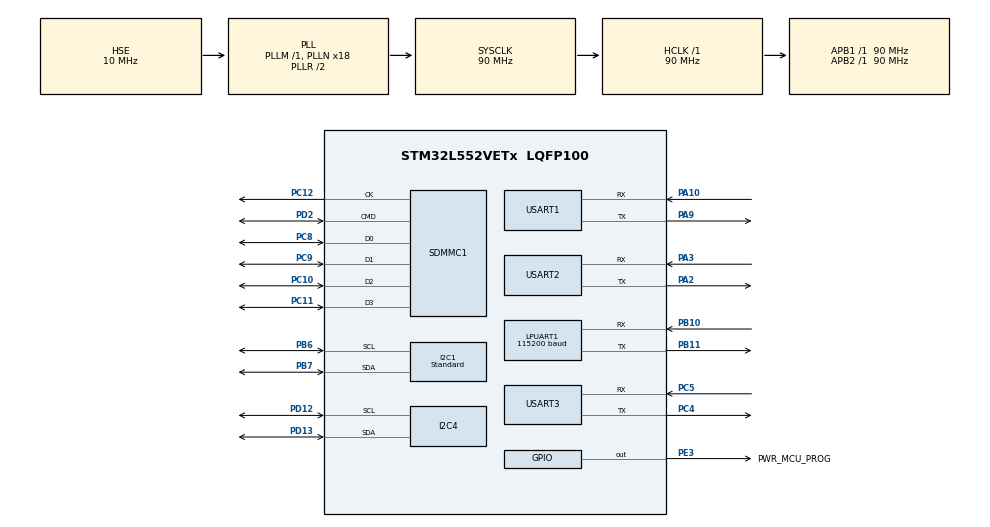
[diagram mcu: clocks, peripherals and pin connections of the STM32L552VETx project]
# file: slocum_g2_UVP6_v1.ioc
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Dma.Request0=USART1_TX
Dma.USART1_TX.0.Channel_PRIV_NPRIV=DMA_CHANNEL_NPRIV_DISABLE
Dma.USART1_TX.0.Direction=DMA_MEMORY_TO_PERIPH
Dma.USART1_TX.0.EventEnable=DISABLE
Dma.USART1_TX.0.Instance=DMA1_Channel1
Dma.USART1_TX.0.MemDataAlignment=DMA_MDATAALIGN_BYTE
Dma.USART1_TX.0.MemInc=DMA_MINC_ENABLE
Dma.USART1_TX.0.Mode=DMA_NORMAL
Dma.USART1_TX.0.PeriphDataAlignment=DMA_PDATAALIGN_BYTE
Dma.USART1_TX.0.PeriphInc=DMA_PINC_DISABLE
Dma.USART1_TX.0.Polarity=HAL_DMAMUX_REQ_GEN_RISING
Dma.USART1_TX.0.Priority=DMA_PRIORITY_LOW
Dma.USART1_TX.0.RequestNumber=1
Dma.USART1_TX.0.SignalID=NONE
Dma.USART1_TX.0.SyncEnable=DISABLE
Dma.USART1_TX.0.SyncPolarity=HAL_DMAMUX_SYNC_NO_EVENT
Dma.USART1_TX.0.SyncRequestNumber=1
Dma.USART1_TX.0.SyncSignalID=NONE
FATFS._FS_EXFAT=1
FATFS._USE_LFN=3
FREERTOS.Tasks01=defaultTask,24,128,StartDefaultTask,Default,NULL,Dynamic,NULL,NULL;sensors_t,24,256,sensors_f,Default,NULL,Dynamic,NULL,NULL
FREERTOS.Timers01=sensors_tmr,sensors_tmr_cb,osTimerPeriodic,Default,NULL,Dynamic,NULL
FREERTOS.configTOTAL_HEAP_SIZE=16000
FREERTOS.configUSE_NEWLIB_REENTRANT=1
I2C1.CustomTiming=Disabled
I2C1.I2C_Coeff_DF=0
I2C1.I2C_Fall_Time=0
I2C1.I2C_Rise_Time=500
I2C1.I2C_Speed_Mode=I2C_Standard
I2C1.Speed=100
I2C1.Timing=0x40D04660
I2C4.I2C_Rise_Time=100
I2C4.Timing=0x10F0B6FF
LPUART1.BaudRate=115200
Mcu.Family=STM32L5
Mcu.Name=STM32L552VETx
Mcu.Package=LQFP100
NVIC.DMA1_Channel1_IRQn=true\:5\:0\:false\:false\:true\:true\:false\:true\:true
NVIC.I2C1_ER_IRQn=true\:5\:0\:false\:false\:true\:true\:true\:true\:true
NVIC.I2C1_EV_IRQn=true\:5\:0\:false\:false\:true\:true\:true\:true\:true
NVIC.LPUART1_IRQn=true\:5\:0\:false\:false\:true\:true\:true\:true\:true
NVIC.PriorityGroup=NVIC_PRIORITYGROUP_3
NVIC.SDMMC1_IRQn=true\:5\:0\:false\:false\:true\:true\:true\:true\:true
NVIC.TIM1_UP_IRQn=true\:7\:0\:false\:false\:true\:false\:false\:true\:true
NVIC.TimeBase=TIM1_UP_IRQn
NVIC.TimeBaseIP=TIM1
NVIC.USART1_IRQn=true\:5\:0\:false\:false\:true\:true\:true\:true\:true
NVIC.USART2_IRQn=true\:5\:0\:false\:false\:true\:true\:true\:true\:true
PA10.Mode=Asynchronous
PA10.Signal=USART1_RX
PA2.Mode=Asynchronous
PA2.Signal=USART2_TX
PA3.Mode=Asynchronous
PA3.Signal=USART2_RX
PA9.Mode=Asynchronous
PA9.Signal=USART1_TX
PB10.Mode=Asynchronous
PB10.Signal=LPUART1_RX
PB11.Mode=Asynchronous
PB11.Signal=LPUART1_TX
PB6.Mode=I2C
PB6.Signal=I2C1_SCL
PB7.Mode=I2C
PB7.Signal=I2C1_SDA
PC10.Mode=SD_4_bits_Wide_bus
PC10.Signal=SDMMC1_D2
PC11.Mode=SD_4_bits_Wide_bus
PC11.Signal=SDMMC1_D3
PC12.Mode=SD_4_bits_Wide_bus
PC12.Signal=SDMMC1_CK
PC14-OSC32_IN\ (PC14).Mode=LSE-External-Oscillator
PC14-OSC32_IN\ (PC14).Signal=RCC_OSC32_IN
PC15-OSC32_OUT\ (PC15).Mode=LSE-External-Oscillator
PC15-OSC32_OUT\ (PC15).Signal=RCC_OSC32_OUT
PC4.Mode=Asynchronous
PC4.Signal=USART3_TX
PC5.Mode=Asynchronous
PC5.Signal=USART3_RX
PC8.Mode=SD_4_bits_Wide_bus
PC8.Signal=SDMMC1_D0
PC9.Mode=SD_4_bits_Wide_bus
PC9.Signal=SDMMC1_D1
PD12.Mode=I2C
PD12.Signal=I2C4_SCL
PD13.Mode=I2C
PD13.Signal=I2C4_SDA
PD2.Mode=SD_4_bits_Wide_bus
PD2.Signal=SDMMC1_CMD
PE10.Signal=OCTOSPI1_CLK
PE11.Signal=OCTOSPI1_NCS
PE12.Signal=OCTOSPI1_IO0
PE13.Signal=OCTOSPI1_IO1
PE14.Signal=OCTOSPI1_IO2
PE15.Signal=OCTOSPI1_IO3
PE3.GPIO_Label=PWR_MCU_PROG
PE3.Signal=GPIO_Output
PH0-OSC_IN\ (PH0).Mode=HSE-External-Oscillator
PH0-OSC_IN\ (PH0).Signal=RCC_OSC_IN
PH1-OSC_OUT\ (PH1).Mode=HSE-External-Oscillator
PH1-OSC_OUT\ (PH1).Signal=RCC_OSC_OUT
ProjectManager.HeapSize=0x400
ProjectManager.StackSize=0x1000
ProjectManager.TargetToolchain=STM32CubeIDE
RCC.ADCFreq_Value=50000000
RCC.AHBFreq_Value=90000000
RCC.APB1Freq_Value=90000000
RCC.APB1TimFreq_Value=90000000
RCC.APB2Freq_Value=90000000
RCC.APB2TimFreq_Value=90000000
RCC.CortexFreq_Value=90000000
RCC.HCLKFreq_Value=90000000
RCC.HSE_VALUE=10000000
RCC.HSI48_VALUE=48000000
RCC.HSI_VALUE=16000000
RCC.MSI_VALUE=4000000
RCC.PLLN=18
RCC.PLLSAI1M=2
RCC.PLLSAI1N=20
RCC.PLLSAI1Q=RCC_PLLQ_DIV8
RCC.PLLSAI1Source=RCC_PLLSAI1SOURCE_HSE
RCC.PLLSourceVirtual=RCC_PLLSOURCE_HSE
RCC.RTCClockSelection=RCC_RTCCLKSOURCE_LSE
RCC.SDMMCClockSelection=RCC_SDIOCLKSOURCE_CLK48
RCC.SYSCLKFreq_VALUE=90000000
RCC.SYSCLKSource=RCC_SYSCLKSOURCE_PLLCLK
RCC.USBFreq_Value=12500000
RCC.VCOOutputFreq_Value=180000000
SDMMC1.ClockDiv=0
SDMMC1.ClockEdge=SDMMC_CLOCK_EDGE_RISING
SDMMC1.ClockPowerSave=SDMMC_CLOCK_POWER_SAVE_DISABLE
SDMMC1.HardwareFlowControl=SDMMC_HARDWARE_FLOW_CONTROL_DISABLE
USART1.VirtualMode-Asynchronous=VM_ASYNC
USART2.VirtualMode-Asynchronous=VM_ASYNC
USART3.VirtualMode-Asynchronous=VM_ASYNC
VP_FATFS_VS_SDIO.Mode=SDIO
VP_FREERTOS_VS_CMSIS_V2.Mode=CMSIS_V2
VP_ICACHE_VS_ICACHE.Mode=DefaultMode
VP_PWR_VS_DBSignals.Mode=DisableDeadBatterySignals
VP_PWR_VS_SECSignals.Mode=Security/Privilege
VP_RTC_VS_RTC_Activate.Mode=RTC_Enabled
VP_SYS_VS_tim1.Mode=TIM1
board=custom

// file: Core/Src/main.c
/* USER CODE BEGIN Header */
/**
  ******************************************************************************
  * @file           : main.c
  * @brief          : Main program body
  ******************************************************************************
  * @attention
  *
  * Copyright (c) 2023 STMicroelectronics.
  * All rights reserved.
  *
  * This software is licensed under terms that can be found in the LICENSE file
  * in the root directory of this software component.
  * If no LICENSE file comes with this software, it is provided AS-IS.
  *
  ******************************************************************************
  */
/* USER CODE END Header */
#include "main.h"
#include "cmsis_os.h"
#include "app_fatfs.h"

/* USER CODE BEGIN Includes */
#include "stdio.h"
#include "string.h"
#include "dbg.h"
#include "stdlib.h"
/* USER CODE END Includes */

I2C_HandleTypeDef hi2c1;
I2C_HandleTypeDef hi2c4;

UART_HandleTypeDef hlpuart1;
UART_HandleTypeDef huart1;
UART_HandleTypeDef huart2;
UART_HandleTypeDef huart3;
DMA_HandleTypeDef hdma_usart1_tx;

RTC_HandleTypeDef hrtc;

SD_HandleTypeDef hsd1;

/* Definitions for defaultTask */
osThreadId_t defaultTaskHandle;
const osThreadAttr_t defaultTask_attributes = {
  .name = "defaultTask",
  .priority = (osPriority_t) osPriorityNormal,
  .stack_size = 128 * 4
};
/* Definitions for sensors_t */
osThreadId_t sensors_tHandle;
const osThreadAttr_t sensors_t_attributes = {
  .name = "sensors_t",
  .priority = (osPriority_t) osPriorityNormal,
  .stack_size = 256 * 4
};
/* Definitions for sensors_tmr */
osTimerId_t sensors_tmrHandle;
const osTimerAttr_t sensors_tmr_attributes = {
  .name = "sensors_tmr"
};
/* USER CODE BEGIN PV */

uint8_t keepalive_msg[]={0x34,0x38,0x33,0x31,0x09,0x36,0x34,0x30,0x09,0x31,0x38,0x35,0x2E,0x33,0x34,0x36,0x09,0x39,0x30,0x2E,0x30,0x36,0x32,0x09,0x32,0x36,0x2E,0x35,0x37,0x32,0x09,0x32,0x37,0x2E,0x35,0x39,0x34,0x09,0x33,0x30,0x2E,0x37,0x33,0x34,0x09,0x33,0x39,0x2E,0x30,0x36,0x36,0x09,0x38,0x2E,0x33,0x33,0x32,0x09,0x37,0x35,0x34,0x2E,0x37,0x09,0x38,0x31,0x34,0x2E,0x37,0x09,0x34,0x38,0x2E,0x37,0x0D,0x0A};

uint8_t  cmd_msg[100];
uint32_t cmd_msg_indx=0;

char tt[200];
RTC_TimeTypeDef sTimeStamp;
RTC_DateTypeDef sTimeStampDate;
uint8_t depth_cmd=0xac;
uint8_t OUTX_L_XL=0x28;
uint8_t OUTX_H_XL=0x29;
uint8_t OUTY_L_XL=0x2A;
uint8_t OUTY_H_XL=0x2B;
uint8_t OUTZ_L_XL=0x2C;
uint8_t OUTZ_H_XL=0x2D;
uint8_t CTRL1_XL[]={0x10,0x20};
uint8_t who_am_i=0x0f;
uint8_t id;
uint8_t data[6];
uint8_t rx_byte;
uint8_t rx_byte2;

FATFS fs;
FIL fl;
FRESULT res;

uint16_t P;
uint16_t T;
UINT btwritten;
uint32_t tmstmp;
int i=0;

enum{
  	FSM_STOPPED=0,
	FSM_STARTING,
	FSM_STARTED,
	FSM_STOPPING,
	FSM_TIMER,
	FSM_RTC_UPDATE
};
uint32_t fsm_status=FSM_STOPPED;
uint8_t uart2_rx_byte;
/* USER CODE END PV */

void SystemClock_Config(void);
static void MX_GPIO_Init(void);
static void MX_DMA_Init(void);
static void MX_ICACHE_Init(void);
static void MX_USART1_UART_Init(void);
static void MX_RTC_Init(void);
static void MX_SDMMC1_SD_Init(void);
static void MX_I2C1_Init(void);
static void MX_LPUART1_UART_Init(void);
static void MX_USART2_UART_Init(void);
static void MX_I2C4_Init(void);
static void MX_USART3_UART_Init(void);
void StartDefaultTask(void *argument);
void sensors_f(void *argument);
void sensors_tmr_cb(void *argument);

int main(void)
{

  /* MCU Configuration--------------------------------------------------------*/

  /* Reset of all peripherals, Initializes the Flash interface and the Systick. */
  HAL_Init();

  /* Configure the system clock */
  SystemClock_Config();

  /* Initialize all configured peripherals */
  MX_GPIO_Init();
  MX_DMA_Init();
  MX_ICACHE_Init();
  MX_USART1_UART_Init();
  MX_RTC_Init();
  MX_SDMMC1_SD_Init();
  if (MX_FATFS_Init() != APP_OK) {
    Error_Handler();
  }
  MX_I2C1_Init();
  MX_LPUART1_UART_Init();
  MX_USART2_UART_Init();
  MX_I2C4_Init();
  MX_USART3_UART_Init();

  /* Init scheduler */
  osKernelInitialize();

  /* Create the timer(s) */
  /* creation of sensors_tmr */
  sensors_tmrHandle = osTimerNew(sensors_tmr_cb, osTimerPeriodic, NULL, &sensors_tmr_attributes);

  /* Create the thread(s) */
  /* creation of defaultTask */
  defaultTaskHandle = osThreadNew(StartDefaultTask, NULL, &defaultTask_attributes);

  /* creation of sensors_t */
  sensors_tHandle = osThreadNew(sensors_f, NULL, &sensors_t_attributes);

  /* Start scheduler */
  osKernelStart();
  /* We should never get here as control is now taken by the scheduler */
  /* Infinite loop */
  /* USER CODE BEGIN WHILE */
  while (1)
  {
	/*
	HAL_UART_Transmit_DMA(&huart1, "Hello\n", 6);

	HAL_Delay(1000);
	//HAL_RTCEx_GetTimeStamp(&hrtc, &sTimeStamp, &sTimeStampDate, RTC_FORMAT_BIN);
	HAL_RTC_GetTime(&hrtc, &sTimeStamp, RTC_FORMAT_BIN);
	HAL_RTC_GetDate(&hrtc, &sTimeStampDate, RTC_FORMAT_BIN);
	sprintf(tt,"%u:%u:%u\n",sTimeStamp.Hours,sTimeStamp.Minutes,sTimeStamp.Seconds);
	HAL_UART_Transmit_DMA(&huart1, tt, strlen(tt));
	HAL_Delay(1000);
	*/

    /* USER CODE END WHILE */

  }
}

void SystemClock_Config(void)
{
  RCC_OscInitTypeDef RCC_OscInitStruct = {0};
  RCC_ClkInitTypeDef RCC_ClkInitStruct = {0};

  /** Configure the main internal regulator output voltage
  */
  if (HAL_PWREx_ControlVoltageScaling(PWR_REGULATOR_VOLTAGE_SCALE0) != HAL_OK)
  {
    Error_Handler();
  }

  /** Configure LSE Drive Capability
  */
  HAL_PWR_EnableBkUpAccess();
  __HAL_RCC_LSEDRIVE_CONFIG(RCC_LSEDRIVE_LOW);

  /** Initializes the RCC Oscillators according to the specified parameters
  * in the RCC_OscInitTypeDef structure.
  */
  RCC_OscInitStruct.OscillatorType = RCC_OSCILLATORTYPE_HSE|RCC_OSCILLATORTYPE_LSE;
  RCC_OscInitStruct.HSEState = RCC_HSE_ON;
  RCC_OscInitStruct.LSEState = RCC_LSE_ON;
  RCC_OscInitStruct.PLL.PLLState = RCC_PLL_ON;
  RCC_OscInitStruct.PLL.PLLSource = RCC_PLLSOURCE_HSE;
  RCC_OscInitStruct.PLL.PLLM = 1;
  RCC_OscInitStruct.PLL.PLLN = 18;
  RCC_OscInitStruct.PLL.PLLP = RCC_PLLP_DIV7;
  RCC_OscInitStruct.PLL.PLLQ = RCC_PLLQ_DIV2;
  RCC_OscInitStruct.PLL.PLLR = RCC_PLLR_DIV2;
  if (HAL_RCC_OscConfig(&RCC_OscInitStruct) != HAL_OK)
  {
    Error_Handler();
  }

  /** Initializes the CPU, AHB and APB buses clocks
  */
  RCC_ClkInitStruct.ClockType = RCC_CLOCKTYPE_HCLK|RCC_CLOCKTYPE_SYSCLK
                              |RCC_CLOCKTYPE_PCLK1|RCC_CLOCKTYPE_PCLK2;
  RCC_ClkInitStruct.SYSCLKSource = RCC_SYSCLKSOURCE_PLLCLK;
  RCC_ClkInitStruct.AHBCLKDivider = RCC_SYSCLK_DIV1;
  RCC_ClkInitStruct.APB1CLKDivider = RCC_HCLK_DIV1;
  RCC_ClkInitStruct.APB2CLKDivider = RCC_HCLK_DIV1;

  if (HAL_RCC_ClockConfig(&RCC_ClkInitStruct, FLASH_LATENCY_4) != HAL_OK)
  {
    Error_Handler();
  }
}

static void MX_I2C1_Init(void)
{

  hi2c1.Instance = I2C1;
  hi2c1.Init.Timing = 0x40D04660;
  hi2c1.Init.OwnAddress1 = 0;
  hi2c1.Init.AddressingMode = I2C_ADDRESSINGMODE_7BIT;
  hi2c1.Init.DualAddressMode = I2C_DUALADDRESS_DISABLE;
  hi2c1.Init.OwnAddress2 = 0;
  hi2c1.Init.OwnAddress2Masks = I2C_OA2_NOMASK;
  hi2c1.Init.GeneralCallMode = I2C_GENERALCALL_DISABLE;
  hi2c1.Init.NoStretchMode = I2C_NOSTRETCH_DISABLE;
  if (HAL_I2C_Init(&hi2c1) != HAL_OK)
  {
    Error_Handler();
  }

  /** Configure Analogue filter
  */
  if (HAL_I2CEx_ConfigAnalogFilter(&hi2c1, I2C_ANALOGFILTER_ENABLE) != HAL_OK)
  {
    Error_Handler();
  }

  /** Configure Digital filter
  */
  if (HAL_I2CEx_ConfigDigitalFilter(&hi2c1, 0) != HAL_OK)
  {
    Error_Handler();
  }

}

static void MX_I2C4_Init(void)
{

  hi2c4.Instance = I2C4;
  hi2c4.Init.Timing = 0x10F0B6FF;
  hi2c4.Init.OwnAddress1 = 0;
  hi2c4.Init.AddressingMode = I2C_ADDRESSINGMODE_7BIT;
  hi2c4.Init.DualAddressMode = I2C_DUALADDRESS_DISABLE;
  hi2c4.Init.OwnAddress2 = 0;
  hi2c4.Init.OwnAddress2Masks = I2C_OA2_NOMASK;
  hi2c4.Init.GeneralCallMode = I2C_GENERALCALL_DISABLE;
  hi2c4.Init.NoStretchMode = I2C_NOSTRETCH_DISABLE;
  if (HAL_I2C_Init(&hi2c4) != HAL_OK)
  {
    Error_Handler();
  }

  /** Configure Analogue filter
  */
  if (HAL_I2CEx_ConfigAnalogFilter(&hi2c4, I2C_ANALOGFILTER_ENABLE) != HAL_OK)
  {
    Error_Handler();
  }

  /** Configure Digital filter
  */
  if (HAL_I2CEx_ConfigDigitalFilter(&hi2c4, 0) != HAL_OK)
  {
    Error_Handler();
  }

}

static void MX_ICACHE_Init(void)
{

  /** Enable instruction cache (default 2-ways set associative cache)
  */
  if (HAL_ICACHE_Enable() != HAL_OK)
  {
    Error_Handler();
  }

}

static void MX_LPUART1_UART_Init(void)
{

  hlpuart1.Instance = LPUART1;
  hlpuart1.Init.BaudRate = 115200;
  hlpuart1.Init.WordLength = UART_WORDLENGTH_8B;
  hlpuart1.Init.StopBits = UART_STOPBITS_1;
  hlpuart1.Init.Parity = UART_PARITY_NONE;
  hlpuart1.Init.Mode = UART_MODE_TX_RX;
  hlpuart1.Init.HwFlowCtl = UART_HWCONTROL_NONE;
  hlpuart1.Init.OneBitSampling = UART_ONE_BIT_SAMPLE_DISABLE;
  hlpuart1.Init.ClockPrescaler = UART_PRESCALER_DIV1;
  hlpuart1.AdvancedInit.AdvFeatureInit = UART_ADVFEATURE_NO_INIT;
  hlpuart1.FifoMode = UART_FIFOMODE_DISABLE;
  if (HAL_UART_Init(&hlpuart1) != HAL_OK)
  {
    Error_Handler();
  }
  if (HAL_UARTEx_SetTxFifoThreshold(&hlpuart1, UART_TXFIFO_THRESHOLD_1_8) != HAL_OK)
  {
    Error_Handler();
  }
  if (HAL_UARTEx_SetRxFifoThreshold(&hlpuart1, UART_RXFIFO_THRESHOLD_1_8) != HAL_OK)
  {
    Error_Handler();
  }
  if (HAL_UARTEx_DisableFifoMode(&hlpuart1) != HAL_OK)
  {
    Error_Handler();
  }

}

static void MX_USART1_UART_Init(void)
{

  huart1.Instance = USART1;
  huart1.Init.BaudRate = 115200;
  huart1.Init.WordLength = UART_WORDLENGTH_8B;
  huart1.Init.StopBits = UART_STOPBITS_1;
  huart1.Init.Parity = UART_PARITY_NONE;
  huart1.Init.Mode = UART_MODE_TX_RX;
  huart1.Init.HwFlowCtl = UART_HWCONTROL_NONE;
  huart1.Init.OverSampling = UART_OVERSAMPLING_16;
  huart1.Init.OneBitSampling = UART_ONE_BIT_SAMPLE_DISABLE;
  huart1.Init.ClockPrescaler = UART_PRESCALER_DIV1;
  huart1.AdvancedInit.AdvFeatureInit = UART_ADVFEATURE_NO_INIT;
  if (HAL_UART_Init(&huart1) != HAL_OK)
  {
    Error_Handler();
  }
  if (HAL_UARTEx_SetTxFifoThreshold(&huart1, UART_TXFIFO_THRESHOLD_1_8) != HAL_OK)
  {
    Error_Handler();
  }
  if (HAL_UARTEx_SetRxFifoThreshold(&huart1, UART_RXFIFO_THRESHOLD_1_8) != HAL_OK)
  {
    Error_Handler();
  }
  if (HAL_UARTEx_DisableFifoMode(&huart1) != HAL_OK)
  {
    Error_Handler();
  }

}

static void MX_USART2_UART_Init(void)
{

  huart2.Instance = USART2;
  huart2.Init.BaudRate = 115200;
  huart2.Init.WordLength = UART_WORDLENGTH_8B;
  huart2.Init.StopBits = UART_STOPBITS_1;
  huart2.Init.Parity = UART_PARITY_NONE;
  huart2.Init.Mode = UART_MODE_TX_RX;
  huart2.Init.HwFlowCtl = UART_HWCONTROL_NONE;
  huart2.Init.OverSampling = UART_OVERSAMPLING_16;
  huart2.Init.OneBitSampling = UART_ONE_BIT_SAMPLE_DISABLE;
  huart2.Init.ClockPrescaler = UART_PRESCALER_DIV1;
  huart2.AdvancedInit.AdvFeatureInit = UART_ADVFEATURE_NO_INIT;
  if (HAL_UART_Init(&huart2) != HAL_OK)
  {
    Error_Handler();
  }
  if (HAL_UARTEx_SetTxFifoThreshold(&huart2, UART_TXFIFO_THRESHOLD_1_8) != HAL_OK)
  {
    Error_Handler();
  }
  if (HAL_UARTEx_SetRxFifoThreshold(&huart2, UART_RXFIFO_THRESHOLD_1_8) != HAL_OK)
  {
    Error_Handler();
  }
  if (HAL_UARTEx_DisableFifoMode(&huart2) != HAL_OK)
  {
    Error_Handler();
  }

}

static void MX_USART3_UART_Init(void)
{

  huart3.Instance = USART3;
  huart3.Init.BaudRate = 115200;
  huart3.Init.WordLength = UART_WORDLENGTH_8B;
  huart3.Init.StopBits = UART_STOPBITS_1;
  huart3.Init.Parity = UART_PARITY_NONE;
  huart3.Init.Mode = UART_MODE_TX_RX;
  huart3.Init.HwFlowCtl = UART_HWCONTROL_NONE;
  huart3.Init.OverSampling = UART_OVERSAMPLING_16;
  huart3.Init.OneBitSampling = UART_ONE_BIT_SAMPLE_DISABLE;
  huart3.Init.ClockPrescaler = UART_PRESCALER_DIV1;
  huart3.AdvancedInit.AdvFeatureInit = UART_ADVFEATURE_NO_INIT;
  if (HAL_UART_Init(&huart3) != HAL_OK)
  {
    Error_Handler();
  }
  if (HAL_UARTEx_SetTxFifoThreshold(&huart3, UART_TXFIFO_THRESHOLD_1_8) != HAL_OK)
  {
    Error_Handler();
  }
  if (HAL_UARTEx_SetRxFifoThreshold(&huart3, UART_RXFIFO_THRESHOLD_1_8) != HAL_OK)
  {
    Error_Handler();
  }
  if (HAL_UARTEx_DisableFifoMode(&huart3) != HAL_OK)
  {
    Error_Handler();
  }

}

static void MX_RTC_Init(void)
{

  RTC_PrivilegeStateTypeDef privilegeState = {0};

  /** Initialize RTC Only
  */
  hrtc.Instance = RTC;
  hrtc.Init.HourFormat = RTC_HOURFORMAT_24;
  hrtc.Init.AsynchPrediv = 127;
  hrtc.Init.SynchPrediv = 255;
  hrtc.Init.OutPut = RTC_OUTPUT_DISABLE;
  hrtc.Init.OutPutRemap = RTC_OUTPUT_REMAP_NONE;
  hrtc.Init.OutPutPolarity = RTC_OUTPUT_POLARITY_HIGH;
  hrtc.Init.OutPutType = RTC_OUTPUT_TYPE_OPENDRAIN;
  hrtc.Init.OutPutPullUp = RTC_OUTPUT_PULLUP_NONE;
  if (HAL_RTC_Init(&hrtc) != HAL_OK)
  {
    Error_Handler();
  }
  privilegeState.rtcPrivilegeFull = RTC_PRIVILEGE_FULL_NO;
  privilegeState.backupRegisterPrivZone = RTC_PRIVILEGE_BKUP_ZONE_NONE;
  privilegeState.backupRegisterStartZone2 = RTC_BKP_DR0;
  privilegeState.backupRegisterStartZone3 = RTC_BKP_DR0;
  if (HAL_RTCEx_PrivilegeModeSet(&hrtc, &privilegeState) != HAL_OK)
  {
    Error_Handler();
  }

}

static void MX_SDMMC1_SD_Init(void)
{

  hsd1.Instance = SDMMC1;
  hsd1.Init.ClockEdge = SDMMC_CLOCK_EDGE_RISING;
  hsd1.Init.ClockPowerSave = SDMMC_CLOCK_POWER_SAVE_DISABLE;
  hsd1.Init.BusWide = SDMMC_BUS_WIDE_4B;
  hsd1.Init.HardwareFlowControl = SDMMC_HARDWARE_FLOW_CONTROL_DISABLE;
  hsd1.Init.ClockDiv = 0;

}

static void MX_DMA_Init(void)
{

  /* DMA controller clock enable */
  __HAL_RCC_DMAMUX1_CLK_ENABLE();
  __HAL_RCC_DMA1_CLK_ENABLE();

  /* DMA interrupt init */
  /* DMA1_Channel1_IRQn interrupt configuration */
  HAL_NVIC_SetPriority(DMA1_Channel1_IRQn, 5, 0);
  HAL_NVIC_EnableIRQ(DMA1_Channel1_IRQn);

}

static void MX_GPIO_Init(void)
{
  GPIO_InitTypeDef GPIO_InitStruct = {0};

  /* GPIO Ports Clock Enable */
  __HAL_RCC_GPIOE_CLK_ENABLE();
  __HAL_RCC_GPIOC_CLK_ENABLE();
  __HAL_RCC_GPIOH_CLK_ENABLE();
  __HAL_RCC_GPIOA_CLK_ENABLE();
  __HAL_RCC_GPIOB_CLK_ENABLE();
  __HAL_RCC_GPIOD_CLK_ENABLE();

  /*Configure GPIO pin Output Level */
  HAL_GPIO_WritePin(PWR_MCU_PROG_GPIO_Port, PWR_MCU_PROG_Pin, GPIO_PIN_RESET);

  /*Configure GPIO pin : PWR_MCU_PROG_Pin */
  GPIO_InitStruct.Pin = PWR_MCU_PROG_Pin;
  GPIO_InitStruct.Mode = GPIO_MODE_OUTPUT_PP;
  GPIO_InitStruct.Pull = GPIO_NOPULL;
  GPIO_InitStruct.Speed = GPIO_SPEED_FREQ_LOW;
  HAL_GPIO_Init(PWR_MCU_PROG_GPIO_Port, &GPIO_InitStruct);

  /*Configure GPIO pins : PE10 PE11 PE12 PE13
                           PE14 PE15 */
  GPIO_InitStruct.Pin = GPIO_PIN_10|GPIO_PIN_11|GPIO_PIN_12|GPIO_PIN_13
                          |GPIO_PIN_14|GPIO_PIN_15;
  GPIO_InitStruct.Mode = GPIO_MODE_AF_PP;
  GPIO_InitStruct.Pull = GPIO_NOPULL;
  GPIO_InitStruct.Speed = GPIO_SPEED_FREQ_VERY_HIGH;
  GPIO_InitStruct.Alternate = GPIO_AF10_OCTOSPI1;
  HAL_GPIO_Init(GPIOE, &GPIO_InitStruct);

}

/* USER CODE BEGIN 4 */
uint32_t sd_dma_rx_semaphore;
uint32_t sd_dma_tx_semaphore;

void HAL_SD_TxCpltCallback(SD_HandleTypeDef *hsd)
{
	sd_dma_tx_semaphore=1;
	//print_param("tcb",hsd->ErrorCode);
}

void HAL_SD_RxCpltCallback(SD_HandleTypeDef *hsd)
{
	sd_dma_rx_semaphore=1;
	//print_param("rCb",hsd->ErrorCode);

}
void HAL_SD_ErrorCallback(SD_HandleTypeDef *hsd)
{
  //print_param("ecb",hsd->ErrorCode);
  //print_param("STAecb",hsd1.Instance->STA);
  //print_param("CLKCR",hsd1.Instance->CLKCR);
}

void HAL_UART_RxCpltCallback(UART_HandleTypeDef *huart)
{
 if(huart==&huart2)
 {
	 if(uart2_rx_byte=='\r'){
		 uart2_rx_byte=0x00;
	 }

     cmd_msg[cmd_msg_indx]=uart2_rx_byte;
     if(uart2_rx_byte==0x00){
    	 cmd_msg_indx=0;
    	 if(fsm_status==FSM_STARTED||fsm_status==FSM_TIMER)fsm_status=FSM_RTC_UPDATE;
     }
     else{
    	 cmd_msg_indx++;
    	 cmd_msg_indx%=100;
     }

	 HAL_UART_Receive_IT(&huart2,&uart2_rx_byte,1);
 }
}

/* USER CODE END 4 */

void StartDefaultTask(void *argument)
{
  /* USER CODE BEGIN 5 */
  /* Infinite loop */
  cmd_msg_indx=0;
  HAL_UART_Receive_IT(&huart2,&uart2_rx_byte,1);

  for(;;)
  {
	HAL_UART_Transmit(&huart2, keepalive_msg, 76, 100);
    osDelay(1000);
  }
  /* USER CODE END 5 */
}

void sensors_f(void *argument)
{
  /* USER CODE BEGIN sensors_f */
  /* Infinite loop */

	  osDelay(200);
	  HAL_UART_Transmit(&huart1, "Start\n", 6, 100);

	  res=f_mount(&fs,"",1);
	  print_param("mount", res);
	  HAL_I2C_Master_Transmit(&hi2c4, 0xd4, CTRL1_XL, 2, 100);

	  fsm_status=FSM_STARTING;
	  char* pch;
	  while(1){
		 switch(fsm_status){
		   case FSM_RTC_UPDATE:
			   // d.m.y ss:mm:hh weekday
               print_str(cmd_msg);
			   pch = strtok (cmd_msg,"."); //Date
			   sTimeStampDate.Date=strtoul(pch,NULL,0);
			   pch = strtok (NULL,".");    //Month
			   sTimeStampDate.Month=strtoul(pch,NULL,0);
			   pch = strtok (NULL," ");    //Year
			   sTimeStampDate.Year=strtoul(pch,NULL,0);

			   pch = strtok (NULL,":"); //Seconds
			   sTimeStamp.Seconds=strtoul(pch,NULL,0);
			   pch = strtok (NULL,":");    //Minutes
			   sTimeStamp.Minutes=strtoul(pch,NULL,0);
			   pch = strtok (NULL," ");    //Hours
			   sTimeStamp.Hours=strtoul(pch,NULL,0);

			   pch = strtok (NULL," ");    //Weekday
			   sTimeStampDate.WeekDay =strtoul(pch,NULL,0);

			   HAL_RTC_SetTime(&hrtc, &sTimeStamp, RTC_FORMAT_BIN);
			   HAL_RTC_SetDate(&hrtc, &sTimeStampDate, RTC_FORMAT_BIN);

			   fsm_status=FSM_STARTED;

		   break;
		   case FSM_STARTING:
			HAL_RTC_GetTime(&hrtc, &sTimeStamp, RTC_FORMAT_BIN);
			HAL_RTC_GetDate(&hrtc, &sTimeStampDate, RTC_FORMAT_BIN);

			sprintf(tt,"data_%02u%02u%02u%02u%02u%02u.txt",sTimeStampDate.Date,sTimeStampDate.Month,sTimeStampDate.Year,sTimeStamp.Hours,sTimeStamp.Minutes,sTimeStamp.Seconds);

			f_open(&fl,tt,FA_OPEN_APPEND|FA_WRITE);
			f_write(&fl,"Start\n",6,&btwritten);
			osTimerStart(sensors_tmrHandle, 100);
			fsm_status=FSM_STARTED;
		   break;
		   case FSM_TIMER:
		    HAL_RTC_GetTime(&hrtc, &sTimeStamp, RTC_FORMAT_BIN);
		    HAL_RTC_GetDate(&hrtc, &sTimeStampDate, RTC_FORMAT_BIN);
		    uint32_t subsec=(sTimeStamp.SecondFraction-sTimeStamp.SubSeconds)*1000/(sTimeStamp.SecondFraction+1);

		    //sprintf(tt,"RTC %02u:%02u:%02u %02u:%02u:%02u\n",sTimeStampDate.Date,sTimeStampDate.Month,sTimeStampDate.Year,sTimeStamp.Hours,sTimeStamp.Minutes,sTimeStamp.Seconds);

			//IMU SENSOR!!
			//HAL_I2C_Master_Transmit(&hi2c4, 0xd4, &who_am_i, 1, 100);
			//HAL_I2C_Master_Receive(&hi2c4, 0xd4, &id, 1, 100);
			//sprintf(tt,"who_am_i:%u \n",id);
			//HAL_UART_Transmit(&huart1, tt, strlen(tt),100);

			HAL_I2C_Master_Transmit(&hi2c4, 0xd4, &OUTX_L_XL, 1, 100);
			HAL_I2C_Master_Receive(&hi2c4, 0xd4, data, 1, 100);
			HAL_I2C_Master_Transmit(&hi2c4, 0xd4, &OUTX_H_XL, 1, 100);
			HAL_I2C_Master_Receive(&hi2c4, 0xd4, data+1, 1, 100);

			HAL_I2C_Master_Transmit(&hi2c4, 0xd4, &OUTY_L_XL, 1, 100);
			HAL_I2C_Master_Receive(&hi2c4, 0xd4, data+2, 1, 100);
			HAL_I2C_Master_Transmit(&hi2c4, 0xd4, &OUTY_H_XL, 1, 100);
			HAL_I2C_Master_Receive(&hi2c4, 0xd4, data+3, 1, 100);

			HAL_I2C_Master_Transmit(&hi2c4, 0xd4, &OUTZ_L_XL, 1, 100);
			HAL_I2C_Master_Receive(&hi2c4, 0xd4, data+4, 1, 100);
			HAL_I2C_Master_Transmit(&hi2c4, 0xd4, &OUTZ_H_XL, 1, 100);
			HAL_I2C_Master_Receive(&hi2c4, 0xd4, data+5, 1, 100);

			int16_t OUTX_XL=(data[1]<<8)|data[0];
			int16_t OUTY_XL=(data[3]<<8)|data[2];
			int16_t OUTZ_XL=(data[5]<<8)|data[4];

			//DEPTH SENSOR !!
			HAL_I2C_Master_Transmit(&hi2c1, 0x80, &depth_cmd, 1, 100);
			osDelay(15);
			HAL_I2C_Master_Receive(&hi2c1, 0x80, data, 5, 100);
			P=(data[1]<<8)|data[2];
			T=(data[3]<<8)|data[4];

			sprintf(tt,"%02u:%02u:%02u,%02u:%02u:%02u.%03u,%u,%u,%d,%d,%d\n",sTimeStampDate.Date,sTimeStampDate.Month,sTimeStampDate.Year,sTimeStamp.Hours,sTimeStamp.Minutes,sTimeStamp.Seconds,subsec,P,T,OUTX_XL,OUTY_XL,OUTZ_XL);

			res=f_write(&fl,tt,strlen(tt),&btwritten);
			osDelay(20);
			f_sync(&fl);
			osDelay(20);
			print_str(tt);
			if(fsm_status!=FSM_RTC_UPDATE)fsm_status=FSM_STARTED;
		   break;
		   case FSM_STOPPING:
			osTimerStop(sensors_tmrHandle);
			f_close(&fl);
			osDelay(20);
			print_str("Finished\n");
			fsm_status=FSM_STOPPED;
		   break;
		   case FSM_STOPPED:

		   break;
		  }

		  osDelay(1);
	  }

  for(;;)
  {
    osDelay(1);
  }
  /* USER CODE END sensors_f */
}

/* sensors_tmr_cb function */
void sensors_tmr_cb(void *argument)
{
  /* USER CODE BEGIN sensors_tmr_cb */
   if(fsm_status==FSM_STARTED) fsm_status=FSM_TIMER;

  /* USER CODE END sensors_tmr_cb */
}

void HAL_TIM_PeriodElapsedCallback(TIM_HandleTypeDef *htim)
{
  if (htim->Instance == TIM1) {
    HAL_IncTick();
  }
}

void Error_Handler(void)
{
  /* USER CODE BEGIN Error_Handler_Debug */
  /* User can add his own implementation to report the HAL error return state */
	HAL_UART_Transmit(&huart1, "err", 3,100);
  __disable_irq();
  while (1)
  {
  }
  /* USER CODE END Error_Handler_Debug */
}
